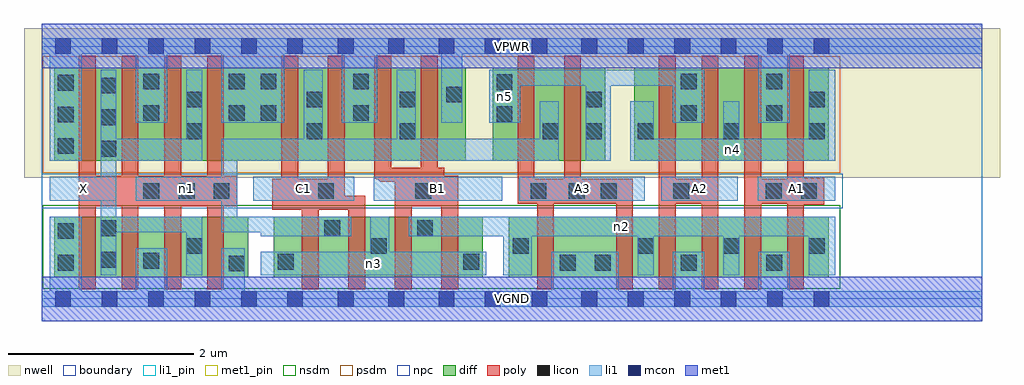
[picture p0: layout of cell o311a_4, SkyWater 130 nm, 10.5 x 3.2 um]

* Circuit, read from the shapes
.subckt o311a_4 A1 A2 A3 B1 C1 VGND VPWR X n1 n2 n3 n4 n5
XM1 X n1 VGND VSUBS sky130_fd_pr__nfet_01v8 w=0.65 l=0.18 m=4
XM2 n1 C1 n3 VSUBS sky130_fd_pr__nfet_01v8 w=0.65 l=0.18 m=2
XM3 n2 B1 n3 VSUBS sky130_fd_pr__nfet_01v8 w=0.65 l=0.18 m=2
XM4 VGND A3 n2 VSUBS sky130_fd_pr__nfet_01v8 w=0.65 l=0.18 m=2
XM5 VGND A2 n2 VSUBS sky130_fd_pr__nfet_01v8 w=0.65 l=0.18 m=2
XM6 VGND A1 n2 VSUBS sky130_fd_pr__nfet_01v8 w=0.65 l=0.18 m=2
XM7 X n1 VPWR n6 sky130_fd_pr__pfet_01v8 w=1 l=0.18 m=4
XM8 n1 C1 VPWR n6 sky130_fd_pr__pfet_01v8 w=1 l=0.18 m=2
XM9 n1 B1 VPWR n6 sky130_fd_pr__pfet_01v8 w=1 l=0.18 m=2
XM10 n1 A3 n5 n6 sky130_fd_pr__pfet_01v8 w=1 l=0.18 m=2
XM11 n5 A2 n4 n6 sky130_fd_pr__pfet_01v8 w=1 l=0.18 m=2
XM12 VPWR A1 n4 n6 sky130_fd_pr__pfet_01v8 w=1 l=0.18 m=2
.ends

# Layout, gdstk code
import gdstk
lib = gdstk.Library(unit=1e-6, precision=1e-09)
def R(c, l, rs):  # rectangles x0, y0, x1, y1
    for r in rs: c.add(gdstk.rectangle(r[:2], r[2:], *l))
def A(c, l, x, y, w, h, nx, ny, dx, dy):  # array of equal rectangles
    R(c, l, [(x+i*dx, y+j*dy, x+i*dx+w, y+j*dy+h) for i in range(nx) for j in range(ny)])
nwell = (64, 20)
diff = (65, 20)
poly = (66, 20)
licon = (66, 44)
li1_pin = (67, 16)
li1 = (67, 20)
mcon = (67, 44)
met1_pin = (68, 16)
met1 = (68, 20)
nsdm = (93, 44)
psdm = (94, 20)
npc = (95, 20)
boundary = (235, 4)

o311a_4 = lib.new_cell('o311a_4')
R(o311a_4, nwell, [(-0.19,1.305,10.31,2.91), (0,1.305,10.12,2.91)])
R(o311a_4, diff, [(0.135,0.235,2.225,0.885), (2.495,0.235,4.745,0.885), (5.025,0.235,8.465,0.885), (0.135,1.485,4.565,2.485), (4.855,1.485,6.065,2.485), (6.375,1.485,8.465,2.485)])
A(o311a_4, poly, 0.4, 0.105, 0.18, 2.51, 4, 1, 0.46, 0)
A(o311a_4, poly, 6.64, 0.105, 0.18, 2.51, 4, 1, 0.46, 0)
R(o311a_4, poly, [(2.8,0.105,2.98,1.295), (3.3,0.105,3.48,1.11), (3.8,0.105,3.98,1.41), (4.3,0.105,4.48,1.325), (5.33,0.105,5.51,1.295), (6.18,0.105,6.36,1.295), (2.48,0.96,3.26,1.295), (2.48,0.96,3.48,1.11), (2.58,0.96,2.76,2.615), (3.08,0.96,3.26,2.615), (0.4,0.995,2.105,1.325), (3.8,0.995,4.48,1.325), (4.08,0.995,4.26,2.615), (8.02,1.015,8.42,1.305), (5.12,1.025,6.36,1.295), (5.12,1.025,5.3,2.615), (5.62,1.025,5.8,2.615), (6.64,1.025,7.28,1.295), (7.56,1.025,8.42,1.295), (3.64,1.26,4.48,1.325), (3.635,1.265,4.48,1.325), (3.63,1.27,4.48,1.325), (3.62,1.275,4.48,1.325), (3.615,1.28,4.48,1.325), (3.61,1.285,4.48,1.325), (3.6,1.29,4.48,1.325), (3.59,1.295,4.48,1.325), (3.58,1.3,3.76,2.615), (3.58,1.3,4.33,1.41)])
A(o311a_4, licon, 6.415, 0.485, 0.17, 0.17, 3, 2, 0.92, 1.235)
A(o311a_4, licon, 0.635, 1.53, 0.17, 0.17, 1, 3, 0, 0.34)
A(o311a_4, licon, 0.175, 1.56, 0.17, 0.17, 1, 3, 0, 0.34)
R(o311a_4, licon, [(2.015,0.295,2.185,0.465), (0.175,0.305,0.345,0.475), (5.575,0.305,5.745,0.475), (5.95,0.305,6.12,0.475), (6.875,0.305,7.045,0.475), (7.795,0.305,7.965,0.475), (2.54,0.315,2.71,0.485), (4.535,0.315,4.705,0.485), (1.095,0.325,1.265,0.495), (0.635,0.335,0.805,0.505), (1.555,0.485,1.725,0.655), (3.54,0.485,3.71,0.655), (5.07,0.485,5.24,0.655), (0.175,0.645,0.345,0.815), (0.635,0.675,0.805,0.845), (3.04,0.675,3.21,0.845), (4.04,0.675,4.21,0.845), (1.095,1.075,1.265,1.245), (1.475,1.075,1.645,1.245), (1.85,1.075,2.02,1.245), (2.975,1.075,3.145,1.245), (4.02,1.075,4.19,1.245), (5.26,1.075,5.43,1.245), (5.67,1.075,5.84,1.245), (6.015,1.075,6.185,1.245), (6.795,1.075,6.965,1.245), (7.79,1.075,7.96,1.245), (8.17,1.075,8.34,1.245), (1.555,1.72,1.725,1.89), (2.85,1.72,3.02,1.89), (3.85,1.72,4.02,1.89), (5.39,1.72,5.56,1.89), (5.855,1.72,6.025,1.89), (4.895,1.905,5.065,2.075), (1.095,1.915,1.265,2.085), (2.015,1.915,2.185,2.085), (2.355,1.915,2.525,2.085), (3.35,1.915,3.52,2.085), (6.875,1.915,7.045,2.085), (7.795,1.915,7.965,2.085), (1.555,2.06,1.725,2.23), (2.85,2.06,3.02,2.23), (3.85,2.06,4.02,2.23), (5.855,2.06,6.025,2.23), (8.255,2.06,8.425,2.23), (4.35,2.115,4.52,2.285), (4.895,2.245,5.065,2.415), (1.095,2.255,1.265,2.425), (2.015,2.255,2.185,2.425), (2.355,2.255,2.525,2.425), (3.35,2.255,3.52,2.425), (6.875,2.255,7.045,2.425), (7.795,2.255,7.965,2.425)])
R(o311a_4, li1_pin, [(0.085,1.055,0.805,1.315), (2.275,1.055,3.365,1.315), (3.57,1.055,4.955,1.315), (5.14,1.055,6.49,1.315), (6.665,1.055,7.49,1.315), (7.705,1.055,8.535,1.315)])
R(o311a_4, li1, [(0,-0.085,10.12,0.085), (0.085,-0.085,0.43,0.885), (1.01,-0.085,1.35,0.545), (1.93,-0.085,2.185,0.545), (5.48,-0.085,6.21,0.505), (6.79,-0.085,7.13,0.505), (7.71,-0.085,8.05,0.505), (0.635,0.255,0.805,2.465), (1.555,0.255,1.725,0.885), (2.355,0.255,4.785,0.505), (3.535,0.255,3.74,0.885), (4.965,0.255,5.27,0.885), (6.415,0.255,6.585,0.885), (7.335,0.255,7.505,0.885), (8.255,0.255,8.535,0.885), (2.355,0.675,3.33,0.885), (3.95,0.675,8.535,0.885), (0.635,0.715,1.725,0.885), (1.93,0.715,3.33,0.885), (1.93,0.715,2.105,1.725), (0.085,1.055,0.805,1.315), (1.01,1.055,2.105,1.315), (2.275,1.055,3.365,1.315), (3.57,1.055,4.955,1.315), (5.14,1.055,6.49,1.315), (6.665,1.055,7.49,1.315), (7.705,1.055,8.535,1.315), (0.085,1.485,0.43,2.805), (0.635,1.485,1.725,1.725), (1.555,1.485,1.725,2.465), (1.93,1.485,5.565,1.725), (2.82,1.485,3.025,2.465), (3.82,1.485,4.025,2.465), (5.36,1.485,5.565,2.125), (5.855,1.485,6.125,2.465), (6.33,1.485,8.535,1.725), (6.33,1.485,6.585,2.125), (7.335,1.485,7.505,2.125), (8.255,1.485,8.535,2.465), (1.01,1.895,1.35,2.805), (1.93,1.895,2.61,2.805), (3.23,1.895,3.61,2.805), (4.3,1.895,4.525,2.805), (4.815,1.895,5.15,2.465), (6.79,1.895,7.13,2.465), (7.71,1.895,8.05,2.805), (4.815,2.295,7.13,2.465), (0,2.635,10.12,2.805)])
A(o311a_4, mcon, 0.145, -0.085, 0.17, 0.17, 5, 2, 0.5, 2.72)
A(o311a_4, mcon, 2.64, -0.085, 0.17, 0.17, 3, 2, 0.545, 2.72)
A(o311a_4, mcon, 5.805, -0.085, 0.17, 0.17, 6, 2, 0.5, 2.72)
R(o311a_4, mcon, [(4.27,-0.085,4.44,0.085), (4.765,-0.085,4.935,0.085), (5.27,-0.085,5.44,0.085), (4.27,2.635,4.44,2.805), (4.765,2.635,4.935,2.805), (5.27,2.635,5.44,2.805)])
R(o311a_4, met1_pin, [(0,-0.24,10.12,0.24), (0,2.48,10.12,2.96)])
R(o311a_4, met1, [(0,-0.24,10.12,0.24), (0,2.48,10.12,2.96)])
R(o311a_4, nsdm, [(0.01,0.11,8.59,1.01)])
R(o311a_4, psdm, [(0.01,1.36,8.59,2.61)])
R(o311a_4, npc, [(0,0.975,8.62,1.345)])
R(o311a_4, boundary, [(0,0,10.12,2.72)])
o311a_4.add(gdstk.Label('A1', (8.12,1.185), layer=67, texttype=5))
o311a_4.add(gdstk.Label('A2', (7.077,1.185), layer=67, texttype=5))
o311a_4.add(gdstk.Label('A3', (5.815,1.185), layer=67, texttype=5))
o311a_4.add(gdstk.Label('B1', (4.262,1.185), layer=67, texttype=5))
o311a_4.add(gdstk.Label('C1', (2.82,1.185), layer=67, texttype=5))
o311a_4.add(gdstk.Label('X', (0.445,1.185), layer=67, texttype=5))
o311a_4.add(gdstk.Label('n3', (3.57,0.38), layer=67, texttype=5))
o311a_4.add(gdstk.Label('n2', (6.242,0.78), layer=67, texttype=5))
o311a_4.add(gdstk.Label('n1', (1.557,1.185), layer=67, texttype=5))
o311a_4.add(gdstk.Label('n5', (4.982,2.18), layer=67, texttype=5))
o311a_4.add(gdstk.Label('n4', (7.432,1.605), layer=67, texttype=5))
o311a_4.add(gdstk.Label('VPWR', (5.06,2.72), layer=68, texttype=5))
o311a_4.add(gdstk.Label('VGND', (5.06,0), layer=68, texttype=5))
o311a_4.add(gdstk.Label('A1', (8.12,1.185), layer=67, texttype=16))
o311a_4.add(gdstk.Label('A2', (7.077,1.185), layer=67, texttype=16))
o311a_4.add(gdstk.Label('A3', (5.815,1.185), layer=67, texttype=16))
o311a_4.add(gdstk.Label('B1', (4.262,1.185), layer=67, texttype=16))
o311a_4.add(gdstk.Label('C1', (2.82,1.185), layer=67, texttype=16))
o311a_4.add(gdstk.Label('X', (0.445,1.185), layer=67, texttype=16))
o311a_4.add(gdstk.Label('VPWR', (5.06,2.72), layer=68, texttype=16))
o311a_4.add(gdstk.Label('VGND', (5.06,0), layer=68, texttype=16))

lib.write_gds('o311a_4.gds')
